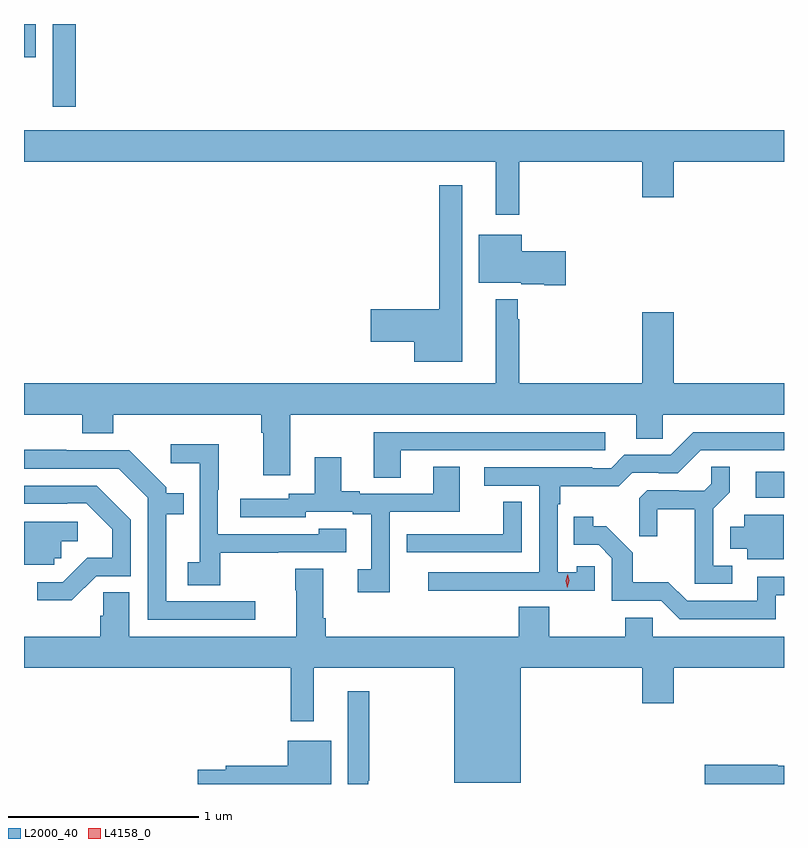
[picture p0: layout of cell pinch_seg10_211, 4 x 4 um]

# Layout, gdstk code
import gdstk
lib = gdstk.Library(unit=1e-6, precision=1e-09)
def R(c, l, rs):  # rectangles x0, y0, x1, y1
    for r in rs: c.add(gdstk.rectangle(r[:2], r[2:], *l))
def P(c, l, *ps):  # polygons
    for p in ps: c.add(gdstk.Polygon(p, *l))
L2000_40 = (2000, 40)
L4158_0 = (4158, 0)

pinch_seg10_211 = lib.new_cell('pinch_seg10_211')
R(pinch_seg10_211, L2000_40, [(645.123,1302.543,645.273,1302.679), (641.423,1304.601,641.545,1305.036), (641.273,1304.861,641.335,1305.036)])
P(pinch_seg10_211, L2000_40, [(643.879,1304.312),(644.528,1304.312),(644.528,1304.124),(644.692,1304.124),(644.692,1304.312),(645.273,1304.312),(645.273,1304.476),(641.273,1304.476),(641.273,1304.312),(643.757,1304.312),(643.757,1304.031),(643.879,1304.031)],
  [(643.579,1304.188),(643.458,1304.188),(643.458,1303.535),(643.098,1303.535),(643.098,1303.364),(643.328,1303.364),(643.328,1303.259),(643.579,1303.259)],
  [(644.125,1303.839),(643.894,1303.839),(643.894,1303.927),(643.667,1303.927),(643.667,1303.673),(643.89,1303.673),(643.89,1303.667),(644.012,1303.667),(644.012,1303.661),(644.125,1303.661)],
  [(642.673,1302.98),(644.495,1302.98),(644.495,1302.853),(644.634,1302.853),(644.634,1302.98),(645.273,1302.98),(645.273,1303.144),(644.692,1303.144),(644.692,1303.519),(644.528,1303.519),(644.528,1303.144),(643.879,1303.144),(643.879,1303.481),(643.871,1303.481),(643.871,1303.588),(643.757,1303.588),(643.757,1303.144),(641.273,1303.144),(641.273,1302.98),(641.579,1302.98),(641.579,1302.881),(641.744,1302.881),(641.744,1302.98),(642.521,1302.98),(642.521,1302.884),(642.533,1302.884),(642.533,1302.66),(642.673,1302.66)],
  [(643.793,1302.054),(644.277,1302.054),(644.277,1302.183),(644.181,1302.183),(644.181,1302.151),(644.082,1302.151),(644.082,1302.509),(644.095,1302.509),(644.095,1302.602),(644.402,1302.602),(644.475,1302.675),(644.614,1302.675),(644.614,1302.672),(644.715,1302.672),(644.835,1302.792),(645.273,1302.792),(645.273,1302.888),(644.796,1302.888),(644.676,1302.768),(644.433,1302.768),(644.364,1302.699),(644.264,1302.699),(644.264,1302.702),(643.695,1302.702),(643.695,1302.606),(643.986,1302.606),(643.986,1302.15),(643.401,1302.15),(643.401,1302.052),(643.793,1302.052)],
  [(643.255,1302.792),(644.332,1302.792),(644.332,1302.888),(643.115,1302.888),(643.115,1302.649),(643.255,1302.649)],
  [(642.307,1302.253),(642.611,1302.253),(642.611,1302.255),(642.97,1302.255),(642.97,1302.379),(642.825,1302.379),(642.825,1302.351),(642.294,1302.351),(642.294,1302.584),(642.297,1302.584),(642.297,1302.823),(642.045,1302.823),(642.045,1302.725),(642.198,1302.725),(642.198,1302.204),(642.135,1302.204),(642.135,1302.082),(642.307,1302.082)],
  [(642.49,1301.997),(642.022,1301.997),(642.022,1302.456),(642.113,1302.456),(642.113,1302.565),(642.021,1302.565),(642.021,1302.597),(641.826,1302.792),(641.495,1302.792),(641.495,1302.794),(641.273,1302.794),(641.273,1302.696),(641.772,1302.696),(641.925,1302.543),(641.925,1301.901),(642.49,1301.901)],
  [(643.197,1302.468),(643.567,1302.468),(643.567,1302.707),(643.427,1302.707),(643.427,1302.564),(643.039,1302.564),(643.039,1302.577),(642.943,1302.577),(642.943,1302.757),(642.803,1302.757),(642.803,1302.564),(642.666,1302.564),(642.666,1302.537),(642.411,1302.537),(642.411,1302.441),(642.756,1302.441),(642.756,1302.468),(643.004,1302.468),(643.004,1302.456),(643.1,1302.456),(643.1,1302.165),(643.029,1302.165),(643.029,1302.045),(643.197,1302.045)],
  [(645.001,1302.186),(644.901,1302.186),(644.901,1302.485),(644.987,1302.571),(644.987,1302.707),(644.889,1302.707),(644.889,1302.616),(644.852,1302.579),(644.718,1302.579),(644.718,1302.582),(644.553,1302.582),(644.512,1302.541),(644.512,1302.339),(644.606,1302.339),(644.606,1302.482),(644.804,1302.482),(644.804,1302.09),(645.001,1302.09)],
  [(641.652,1302.129),(641.835,1302.129),(641.835,1302.427),(641.656,1302.606),(641.273,1302.606),(641.273,1302.51),(641.501,1302.51),(641.501,1302.513),(641.601,1302.513),(641.738,1302.376),(641.738,1302.226),(641.605,1302.226),(641.478,1302.099),(641.343,1302.099),(641.343,1302.002),(641.524,1302.002)],
  [(643.893,1302.521),(643.795,1302.521),(643.795,1302.351),(643.399,1302.351),(643.399,1302.35),(643.287,1302.35),(643.287,1302.255),(643.893,1302.255)],
  [(645.271,1302.454),(645.065,1302.454),(645.065,1302.391),(644.99,1302.391),(644.99,1302.275),(645.08,1302.275),(645.08,1302.218),(645.271,1302.218)],
  [(645.23,1302.03),(645.273,1302.03),(645.273,1302.126),(645.131,1302.126),(645.131,1302),(644.763,1302),(644.665,1302.099),(644.476,1302.099),(644.476,1302.254),(644.338,1302.392),(644.268,1302.392),(644.268,1302.442),(644.167,1302.442),(644.167,1302.294),(644.298,1302.294),(644.367,1302.225),(644.367,1302),(644.628,1302),(644.724,1301.904),(645.23,1301.904)],
  [(641.433,1302.225),(641.469,1302.225),(641.469,1302.314),(641.557,1302.314),(641.557,1302.417),(641.273,1302.417),(641.273,1302.189),(641.433,1302.189)],
  [(643.888,1301.648),(644.528,1301.648),(644.528,1301.46),(644.692,1301.46),(644.692,1301.648),(645.273,1301.648),(645.273,1301.812),(644.583,1301.812),(644.583,1301.91),(644.437,1301.91),(644.437,1301.812),(644.037,1301.812),(644.037,1301.969),(643.877,1301.969),(643.877,1301.812),(642.86,1301.812),(642.86,1301.908),(642.847,1301.908),(642.847,1302.169),(642.7,1302.169),(642.7,1302.056),(642.707,1302.056),(642.707,1301.812),(641.827,1301.812),(641.827,1302.044),(641.689,1302.044),(641.689,1301.922),(641.675,1301.922),(641.675,1301.812),(641.273,1301.812),(641.273,1301.648),(642.678,1301.648),(642.678,1301.367),(642.799,1301.367),(642.799,1301.648),(643.538,1301.648),(643.538,1301.042),(643.888,1301.042)],
  [(643.084,1301.054),(643.091,1301.054),(643.091,1301.524),(642.977,1301.524),(642.977,1301.036),(643.084,1301.036)],
  [(642.889,1301.263),(642.662,1301.263),(642.662,1301.132),(642.334,1301.132),(642.334,1301.112),(642.188,1301.112),(642.188,1301.036),(642.889,1301.036)],
  [(645.273,1301.132),(645.24,1301.132),(645.24,1301.138),(644.856,1301.138),(644.856,1301.036),(645.273,1301.036)])
P(pinch_seg10_211, L4158_0, [(644.133,1302.069),(644.133,1302.069),(644.123,1302.105),(644.134,1302.141),(644.134,1302.141),(644.134,1302.141),(644.143,1302.105),(644.133,1302.069)])

lib.write_gds('pinch_seg10_211.gds')
